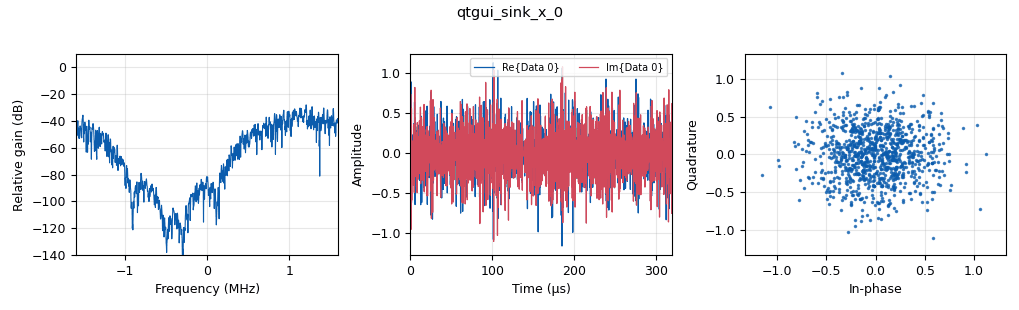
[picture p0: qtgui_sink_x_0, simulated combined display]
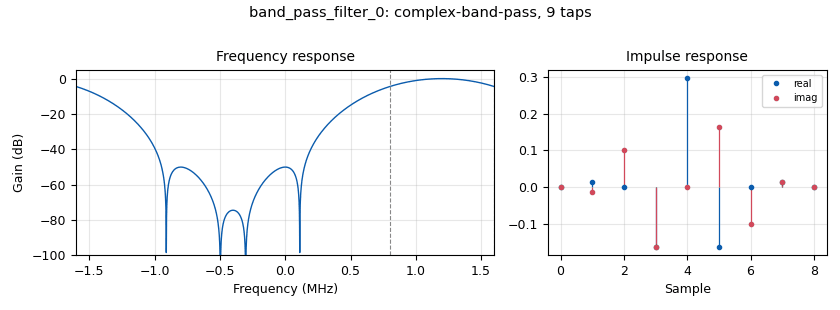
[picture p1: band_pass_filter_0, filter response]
<?xml version='1.0' encoding='utf-8'?>
<?grc format='1' created='3.7.13'?>
<flow_graph>
<block>
<key>options</key>
<param><key>id</key><value>top_block</value></param>
<param><key>generate_options</key><value>qt_gui</value></param>
</block>
<block>
<key>variable_slider</key>
<param><key>id</key><value>cutoff</value></param>
<param><key>converver</key><value>float_converter</value></param>
<param><key>value</key><value>8e3</value></param>
<param><key>_enabled</key><value>0</value></param>
<param><key>label</key><value></value></param>
<param><key>max</key><value>16e3</value></param>
<param><key>min</key><value>32</value></param>
<param><key>num_steps</key><value>100</value></param>
<param><key>style</key><value>wx.SL_HORIZONTAL</value></param>
</block>
<block>
<key>variable_qtgui_range</key>
<param><key>id</key><value>qt_cutoff</value></param>
<param><key>value</key><value>samp_rate/4</value></param>
<param><key>orient</key><value>Qt.Horizontal</value></param>
<param><key>start</key><value>samp_rate/1000</value></param>
<param><key>step</key><value>1</value></param>
<param><key>stop</key><value>samp_rate/2</value></param>
</block>
<block>
<key>variable_qtgui_range</key>
<param><key>id</key><value>qt_high_cut</value></param>
<param><key>value</key><value>samp_rate/2</value></param>
<param><key>orient</key><value>Qt.Horizontal</value></param>
<param><key>start</key><value>samp_rate/1000</value></param>
<param><key>step</key><value>1</value></param>
<param><key>stop</key><value>samp_rate/2</value></param>
</block>
<block>
<key>variable_qtgui_range</key>
<param><key>id</key><value>qt_transition</value></param>
<param><key>value</key><value>samp_rate/4</value></param>
<param><key>orient</key><value>Qt.Horizontal</value></param>
<param><key>start</key><value>samp_rate/1000</value></param>
<param><key>step</key><value>1</value></param>
<param><key>stop</key><value>samp_rate/2</value></param>
</block>
<block>
<key>variable</key>
<param><key>id</key><value>samp_rate</value></param>
<param><key>value</key><value>32e5</value></param>
</block>
<block>
<key>variable_slider</key>
<param><key>id</key><value>transition</value></param>
<param><key>converver</key><value>float_converter</value></param>
<param><key>value</key><value>8e3</value></param>
<param><key>_enabled</key><value>0</value></param>
<param><key>label</key><value></value></param>
<param><key>max</key><value>16e3</value></param>
<param><key>min</key><value>32</value></param>
<param><key>num_steps</key><value>100</value></param>
<param><key>style</key><value>wx.SL_HORIZONTAL</value></param>
</block>
<block>
<key>analog_noise_source_x</key>
<param><key>id</key><value>analog_noise_source_x_0</value></param>
<param><key>amp</key><value>1</value></param>
<param><key>noise_type</key><value>analog.GR_GAUSSIAN</value></param>
<param><key>type</key><value>complex</value></param>
<param><key>seed</key><value>0</value></param>
</block>
<block>
<key>band_pass_filter</key>
<param><key>id</key><value>band_pass_filter_0</value></param>
<param><key>decim</key><value>1</value></param>
<param><key>type</key><value>fir_filter_ccc</value></param>
<param><key>gain</key><value>1</value></param>
<param><key>high_cutoff_freq</key><value>qt_high_cut</value></param>
<param><key>low_cutoff_freq</key><value>qt_cutoff</value></param>
<param><key>samp_rate</key><value>samp_rate</value></param>
<param><key>width</key><value>qt_transition</value></param>
<param><key>win</key><value>firdes.WIN_HAMMING</value></param>
</block>
<block>
<key>blocks_throttle</key>
<param><key>id</key><value>blocks_throttle_0</value></param>
<param><key>samples_per_second</key><value>samp_rate</value></param>
<param><key>type</key><value>complex</value></param>
</block>
<block>
<key>high_pass_filter</key>
<param><key>id</key><value>high_pass_filter_0</value></param>
<param><key>cutoff_freq</key><value>qt_cutoff</value></param>
<param><key>decim</key><value>1</value></param>
<param><key>_enabled</key><value>0</value></param>
<param><key>type</key><value>fir_filter_ccf</value></param>
<param><key>gain</key><value>1</value></param>
<param><key>samp_rate</key><value>samp_rate</value></param>
<param><key>width</key><value>qt_transition</value></param>
<param><key>win</key><value>firdes.WIN_HAMMING</value></param>
</block>
<block>
<key>low_pass_filter</key>
<param><key>id</key><value>low_pass_filter_0</value></param>
<param><key>cutoff_freq</key><value>cutoff</value></param>
<param><key>decim</key><value>1</value></param>
<param><key>_enabled</key><value>2</value></param>
<param><key>type</key><value>fir_filter_ccf</value></param>
<param><key>gain</key><value>1</value></param>
<param><key>samp_rate</key><value>samp_rate</value></param>
<param><key>width</key><value>transition</value></param>
<param><key>win</key><value>firdes.WIN_HAMMING</value></param>
</block>
<block>
<key>low_pass_filter</key>
<param><key>id</key><value>low_pass_filter_0_0</value></param>
<param><key>cutoff_freq</key><value>qt_cutoff</value></param>
<param><key>decim</key><value>1</value></param>
<param><key>_enabled</key><value>0</value></param>
<param><key>type</key><value>fir_filter_ccf</value></param>
<param><key>gain</key><value>1</value></param>
<param><key>samp_rate</key><value>samp_rate</value></param>
<param><key>width</key><value>qt_transition</value></param>
<param><key>win</key><value>firdes.WIN_HAMMING</value></param>
</block>
<block>
<key>qtgui_freq_sink_x</key>
<param><key>id</key><value>qtgui_freq_sink_x_0</value></param>
<param><key>bw</key><value>samp_rate</value></param>
<param><key>fc</key><value>0</value></param>
<param><key>_enabled</key><value>0</value></param>
<param><key>fftsize</key><value>1024</value></param>
<param><key>showports</key><value>True</value></param>
<param><key>type</key><value>complex</value></param>
<param><key>wintype</key><value>firdes.WIN_BLACKMAN_hARRIS</value></param>
</block>
<block>
<key>qtgui_sink_x</key>
<param><key>id</key><value>qtgui_sink_x_0</value></param>
<param><key>bw</key><value>samp_rate</value></param>
<param><key>fc</key><value>0</value></param>
<param><key>freqchangevar</key><value>None</value></param>
<param><key>fftsize</key><value>1024</value></param>
<param><key>showports</key><value>True</value></param>
<param><key>type</key><value>complex</value></param>
<param><key>wintype</key><value>firdes.WIN_BLACKMAN_hARRIS</value></param>
</block>
<block>
<key>wxgui_fftsink2</key>
<param><key>id</key><value>wxgui_fftsink2_0</value></param>
<param><key>avg_alpha</key><value>0</value></param>
<param><key>average</key><value>False</value></param>
<param><key>baseband_freq</key><value>0</value></param>
<param><key>_enabled</key><value>0</value></param>
<param><key>fft_size</key><value>1024</value></param>
<param><key>freqvar</key><value>None</value></param>
<param><key>peak_hold</key><value>False</value></param>
<param><key>ref_level</key><value>0</value></param>
<param><key>ref_scale</key><value>2.0</value></param>
<param><key>fft_rate</key><value>15</value></param>
<param><key>samp_rate</key><value>samp_rate</value></param>
<param><key>title</key><value>FFT Plot</value></param>
<param><key>type</key><value>complex</value></param>
<param><key>win</key><value>None</value></param>
<param><key>y_divs</key><value>10</value></param>
<param><key>y_per_div</key><value>10</value></param>
</block>
<connection><source_block_id>analog_noise_source_x_0</source_block_id><sink_block_id>blocks_throttle_0</sink_block_id><source_key>0</source_key><sink_key>0</sink_key></connection>
<connection><source_block_id>band_pass_filter_0</source_block_id><sink_block_id>qtgui_sink_x_0</sink_block_id><source_key>0</source_key><sink_key>0</sink_key></connection>
<connection><source_block_id>blocks_throttle_0</source_block_id><sink_block_id>band_pass_filter_0</sink_block_id><source_key>0</source_key><sink_key>0</sink_key></connection>
<connection><source_block_id>blocks_throttle_0</source_block_id><sink_block_id>low_pass_filter_0</sink_block_id><source_key>0</source_key><sink_key>0</sink_key></connection>
<connection><source_block_id>blocks_throttle_0</source_block_id><sink_block_id>low_pass_filter_0_0</sink_block_id><source_key>0</source_key><sink_key>0</sink_key></connection>
<connection><source_block_id>high_pass_filter_0</source_block_id><sink_block_id>qtgui_sink_x_0</sink_block_id><source_key>0</source_key><sink_key>0</sink_key></connection>
<connection><source_block_id>low_pass_filter_0</source_block_id><sink_block_id>wxgui_fftsink2_0</sink_block_id><source_key>0</source_key><sink_key>0</sink_key></connection>
<connection><source_block_id>low_pass_filter_0_0</source_block_id><sink_block_id>qtgui_freq_sink_x_0</sink_block_id><source_key>0</source_key><sink_key>0</sink_key></connection>
<connection><source_block_id>low_pass_filter_0_0</source_block_id><sink_block_id>qtgui_sink_x_0</sink_block_id><source_key>0</source_key><sink_key>0</sink_key></connection>
</flow_graph>
